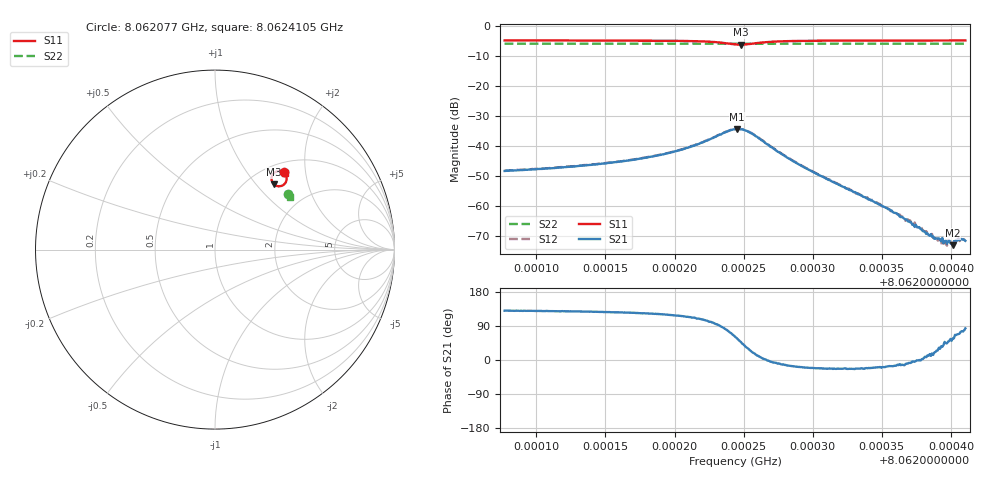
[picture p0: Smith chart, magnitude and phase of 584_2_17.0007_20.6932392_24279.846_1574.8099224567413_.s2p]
#  HZ  S  RI  R  50.00
! Rohde & Schwarz Vector Network Analyzer
! Rohde-Schwarz,ZNB20-2Port,1311601062101988,3.16
! Created: UTC 3/20/2024, 11:18:15 PM
! freq[Hz]  re:S11  im:S11  re:S21  im:S21  re:S12  im:S12  re:S22  im:S22
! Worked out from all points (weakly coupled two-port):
!   401 points, 8.062077 GHz to 8.0624105 GHz, reference 50 ohm
!   highest |S21| = -34.23 dB at 8.0622454 GHz (marker M1); lowest = -73.0 dB at 8.0624013 GHz (marker M2)
!   lowest |S11| = -6.2 dB at 8.0622479 GHz (marker M3), VSWR 2.92, Z = 65.1 + j62.3 ohm
!   |S11| at or under -10 dB: nowhere
!   |S22| runs from -5.9 to -5.9 dB; largest |S21 - S12| = 0.0012
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8.06207699e9  0.3823 0.4308  -0.0025 0.00297  -0.00238 0.00312  0.4056 0.3072
8.06213285e9  0.3879 0.4248  -0.00292 0.00375  -0.00273 0.00394  0.4075 0.3043
8.06216203e9  0.3915 0.42  -0.00328 0.00458  -0.00297 0.0048  0.4087 0.3026
8.06218872e9  0.3956 0.4122  -0.00368 0.00609  -0.00334 0.00636  0.4095 0.3009
8.06220956e9  0.3988 0.3998  -0.00386 0.00861  -0.00333 0.00894  0.4104 0.2993
8.06223041e9  0.391 0.3702  -0.00114 0.0146  -0.000362 0.0149  0.4102 0.2971
8.06224375e9  0.3471 0.3539  0.00908 0.0169  0.0102 0.0165  0.4085 0.2963
8.06224541e9  0.3391 0.3566  0.0109 0.0161  0.0119 0.0156  0.4083 0.2965
8.06224792e9  0.3282 0.3638  0.0129 0.0143  0.0138 0.0135  0.4079 0.2968
8.06225625e9  0.3149 0.4004  0.0152 0.00565  0.0155 0.00494  0.408 0.2982
8.0622796e9  0.3493 0.4367  0.00679 -0.00156  0.00669 -0.00201  0.4108 0.2982
8.06229961e9  0.3649 0.4366  0.00355 -0.00133  0.00353 -0.0016  0.4123 0.2972
8.06234464e9  0.379 0.4316  0.00111 -0.000407  0.00111 -0.000529  0.4144 0.2945
8.06235548e9  0.3808 0.4305  0.000858 -0.000245  0.000835 -0.000321  0.4147 0.2939
8.06237632e9  0.3838 0.4286  0.000447 -9.35e-06  0.000456 -4.9e-05  0.4155 0.2929
8.06238299e9  0.3847 0.4281  0.00035 7.37e-05  0.000364 4.49e-05  0.4157 0.2924
8.06238799e9  0.3853 0.4276  0.000272 9.89e-05  0.000284 8.5e-05  0.4159 0.2922
8.0623955e9  0.3862 0.427  0.00018 0.000198  0.000209 0.000126  0.4161 0.2917
8.06239717e9  0.3862 0.427  0.000174 0.000168  0.000157 0.000157  0.4163 0.2917
8.06240134e9  0.3867 0.4266  0.000123 0.000189  0.000153 0.00018  0.4163 0.2915
8.0624055e9  0.3871 0.4262  0.000101 0.000257  0.000141 0.000259  0.4166 0.2913
8.06241051e9  0.3877 0.4259  3.05e-05 0.000265  5.66e-05 0.000257  0.4167 0.291
